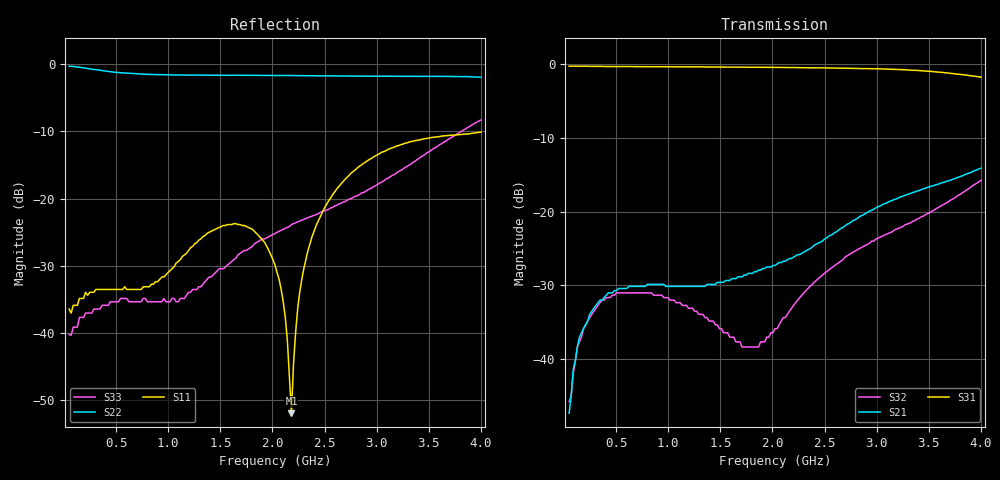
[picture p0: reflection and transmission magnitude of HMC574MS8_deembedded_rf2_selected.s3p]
!Hittite Microwave Corporation
!20 Alpha Road
!Chelmsford, MA 01824
!Tel: 978-250-3343
!Fax: 978-250-3373
!Device: HMC574MS8, DC-3 GHz, GaAs T/R Switch in 8-lead plastic SMT package
!Misc: Vdd = 5V, Port1 = RFC, Port2 = RF1, Port3 = RF2, RF2 ON, Room
# MHZ S MA R 50
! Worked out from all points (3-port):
!   201 points, 50 MHz to 4 GHz, reference 50 ohm
!   strongest paths, dB at 50 MHz, 1.038 GHz, 2.025 GHz, 3.013 GHz, 4 GHz:
!     S31: -0.2, -0.3, -0.4, -0.6, -1.7
!     S21: -47.4, -30.2, -27.3, -19.3, -14.1
!     S32: -45.8, -32.0, -35.9, -23.6, -15.8
!   lowest |S11| = -52.0 dB at 2.183 GHz (marker M1), VSWR 1.01, Z = 50.1 - j0.243 ohm
!   |S11| at or under -10 dB: start of sweep to end of sweep
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50  0.015 4.6  0.00421 68.2  0.974 -3.2
    0.00425 68.3  0.97 -16.8  0.005075 75.5
    0.974 -3.2  0.005105 74.8  0.009699 11.3
306.75  0.021 -2.9  0.023 44.0  0.972 -18.3
        0.023 44.0  0.914 -91.9  0.022 32.5
        0.972 -18.3  0.022 32.6  0.015 15.0
721.5  0.021 -62.8  0.031 9.0  0.967 -42.5
       0.031 9.0  0.848 -166.2  0.028 -22.1
       0.966 -42.5  0.028 -22.1  0.017 -12.7
1570.75  0.064 123.7  0.034 -8.5  0.96 -92.4
         0.034 -8.4  0.829 112.6  0.015 -122.6
         0.96 -92.4  0.015 -122.6  0.032 -137.6
2025  0.032 49.5  0.043 -13.5  0.955 -119.5
      0.043 -13.5  0.826 79.6  0.016 126.7
      0.955 -119.5  0.016 126.7  0.055 -177.6
2123.75  0.013 27.3  0.046 -14.5  0.954 -125.4
         0.046 -14.6  0.827 72.7  0.019 107.6
         0.954 -125.4  0.019 107.6  0.06 175.6
2183  0.002506 -75.4  0.048 -15.2  0.953 -129.0
      0.048 -15.2  0.826 68.5  0.022 97.8
      0.953 -129.0  0.022 97.9  0.064 171.4
2281.75  0.025 -161.3  0.052 -16.4  0.952 -135.0
         0.052 -16.4  0.825 61.7  0.027 83.5
         0.951 -135.0  0.027 83.6  0.069 165.0
2578  0.107 147.0  0.07 -23.3  0.946 -153.1
      0.07 -23.4  0.82 41.2  0.042 49.6
      0.946 -153.2  0.042 49.6  0.086 143.2
4000  0.313 -18.3  0.197 -104.0  0.82 111.8
      0.197 -104.0  0.802 -46.7  0.163 -50.3
      0.82 111.8  0.163 -50.3  0.385 38.8
